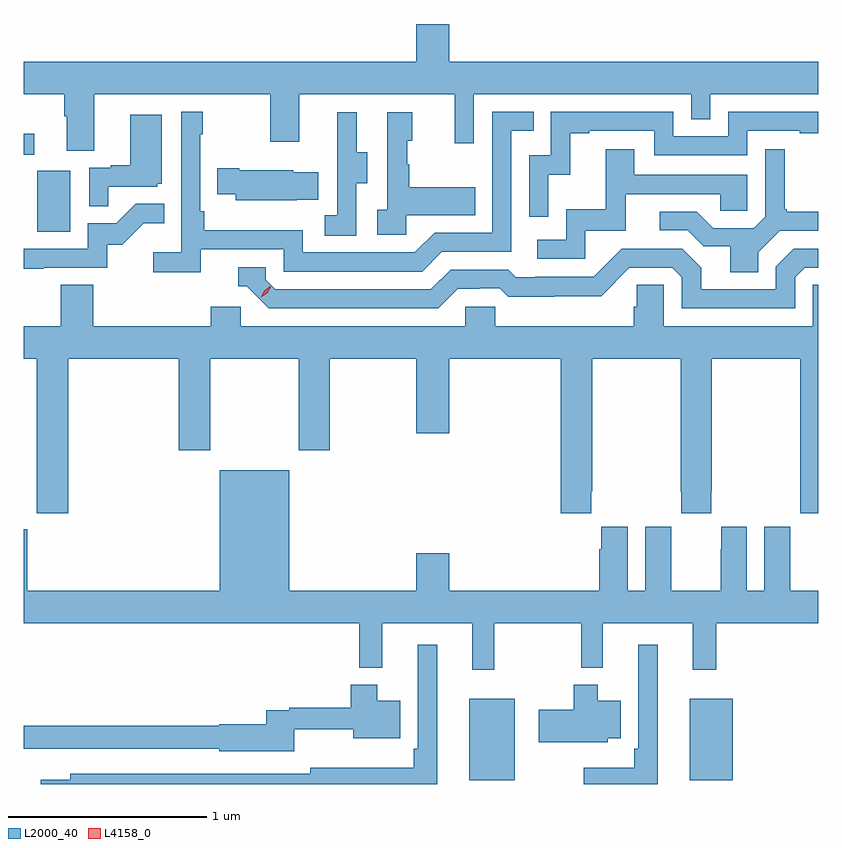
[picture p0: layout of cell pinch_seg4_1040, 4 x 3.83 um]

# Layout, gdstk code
import gdstk
lib = gdstk.Library(unit=1e-6, precision=1e-09)
def R(c, l, rs):  # rectangles x0, y0, x1, y1
    for r in rs: c.add(gdstk.rectangle(r[:2], r[2:], *l))
def P(c, l, *ps):  # polygons
    for p in ps: c.add(gdstk.Polygon(p, *l))
L2000_40 = (2000, 40)
L4158_0 = (4158, 0)

pinch_seg4_1040 = lib.new_cell('pinch_seg4_1040')
R(pinch_seg4_1040, L2000_40, [(848.591,749.411,848.818,749.821), (849.701,749.411,849.916,749.821), (846.416,752.172,846.58,752.479), (846.347,752.559,846.4,752.665)])
P(pinch_seg4_1040, L2000_40, [(846.703,752.864),(847.588,752.864),(847.588,752.625),(847.735,752.625),(847.735,752.864),(848.516,752.864),(848.516,752.616),(848.613,752.616),(848.613,752.864),(849.708,752.864),(849.708,752.737),(849.804,752.737),(849.804,752.864),(850.347,752.864),(850.347,753.028),(848.488,753.028),(848.488,753.217),(848.324,753.217),(848.324,753.028),(846.347,753.028),(846.347,752.864),(846.551,752.864),(846.551,752.752),(846.563,752.752),(846.563,752.578),(846.703,752.578)],
  [(847.238,752.082),(847.656,752.082),(847.656,751.971),(848.353,751.971),(848.452,752.07),(848.802,752.07),(848.802,752.679),(848.915,752.679),(848.915,752.775),(848.706,752.775),(848.706,752.166),(848.415,752.166),(848.316,752.067),(847.752,752.067),(847.752,752.179),(847.256,752.179),(847.256,752.275),(847.236,752.275),(847.236,752.663),(847.249,752.663),(847.249,752.776),(847.14,752.776),(847.14,752.068),(846.999,752.068),(846.999,751.966),(847.238,751.966)],
  [(848.988,752.459),(849.098,752.459),(849.098,752.667),(849.193,752.667),(849.193,752.679),(849.522,752.679),(849.522,752.556),(849.99,752.556),(849.99,752.679),(850.253,752.679),(850.253,752.667),(850.347,752.667),(850.347,752.775),(849.894,752.775),(849.894,752.652),(849.618,752.652),(849.618,752.775),(849,752.775),(849,752.556),(848.892,752.556),(848.892,752.247),(848.988,752.247)],
  [(848.274,752.255),(848.621,752.255),(848.621,752.395),(848.287,752.395),(848.287,752.51),(848.277,752.51),(848.277,752.628),(848.302,752.628),(848.302,752.773),(848.178,752.773),(848.178,752.282),(848.127,752.282),(848.127,752.157),(848.274,752.157)],
  [(848.022,752.416),(848.077,752.416),(848.077,752.571),(848.023,752.571),(848.023,752.773),(847.925,752.773),(847.925,752.559),(847.926,752.559),(847.926,752.255),(847.863,752.255),(847.863,752.152),(848.022,752.152)],
  [(846.773,752.397),(847.02,752.397),(847.02,752.412),(847.042,752.412),(847.042,752.761),(846.884,752.761),(846.884,752.506),(846.785,752.506),(846.785,752.493),(846.678,752.493),(846.678,752.299),(846.773,752.299)],
  [(849.174,752.175),(849.379,752.175),(849.379,752.361),(849.853,752.361),(849.853,752.277),(849.99,752.277),(849.99,752.457),(849.421,752.457),(849.421,752.587),(849.277,752.587),(849.277,752.284),(849.078,752.284),(849.078,752.13),(848.931,752.13),(848.931,752.034),(849.174,752.034)],
  [(850.045,752.068),(850.152,752.175),(850.347,752.175),(850.347,752.272),(850.189,752.272),(850.189,752.284),(850.177,752.284),(850.177,752.587),(850.08,752.587),(850.08,752.247),(850.023,752.19),(849.817,752.19),(849.736,752.271),(849.549,752.271),(849.549,752.178),(849.69,752.178),(849.77,752.098),(849.905,752.098),(849.905,751.966),(850.045,751.966)],
  [(847.721,752.333),(847.829,752.333),(847.829,752.47),(847.704,752.47),(847.704,752.482),(847.432,752.482),(847.432,752.49),(847.321,752.49),(847.321,752.36),(847.415,752.36),(847.415,752.33),(847.721,752.33)],
  [(846.449,751.989),(846.768,751.989),(846.768,752.106),(846.844,752.106),(846.951,752.213),(847.055,752.213),(847.055,752.312),(846.911,752.312),(846.813,752.214),(846.669,752.214),(846.669,752.085),(846.347,752.085),(846.347,751.984),(846.449,751.984)],
  [(848.533,751.884),(848.64,751.884),(848.64,751.887),(848.743,751.887),(848.785,751.845),(849.018,751.845),(849.018,751.847),(849.254,751.847),(849.396,751.989),(849.612,751.989),(849.66,751.941),(849.66,751.785),(850.23,751.785),(850.23,751.941),(850.278,751.989),(850.347,751.989),(850.347,752.085),(850.224,752.085),(850.134,751.995),(850.134,751.881),(849.757,751.881),(849.757,751.991),(849.663,752.085),(849.357,752.085),(849.216,751.944),(848.923,751.944),(848.923,751.941),(848.824,751.941),(848.785,751.98),(848.496,751.98),(848.397,751.881),(847.614,751.881),(847.566,751.929),(847.566,751.992),(847.427,751.992),(847.427,751.896),(847.47,751.896),(847.581,751.785),(848.434,751.785)],
  [(849.05,750.753),(849.203,750.753),(849.203,750.865),(849.21,750.865),(849.21,751.532),(849.655,751.532),(849.655,750.865),(849.657,750.865),(849.657,750.753),(849.807,750.753),(849.807,750.865),(849.81,750.865),(849.81,751.532),(850.255,751.532),(850.255,750.865),(850.257,750.865),(850.257,750.753),(850.347,750.753),(850.347,751.904),(850.32,751.904),(850.32,751.696),(849.57,751.696),(849.57,751.904),(849.433,751.904),(849.433,751.794),(849.419,751.794),(849.419,751.696),(848.721,751.696),(848.721,751.794),(848.571,751.794),(848.571,751.696),(847.44,751.696),(847.44,751.794),(847.289,751.794),(847.289,751.696),(846.698,751.696),(846.698,751.904),(846.533,751.904),(846.533,751.696),(846.347,751.696),(846.347,751.532),(846.412,751.532),(846.412,750.753),(846.572,750.753),(846.572,751.532),(847.127,751.532),(847.127,751.071),(847.287,751.071),(847.287,751.532),(847.732,751.532),(847.732,751.071),(847.887,751.071),(847.887,751.532),(848.324,751.532),(848.324,751.158),(848.488,751.158),(848.488,751.532),(849.05,751.532)],
  [(848.716,750.2),(849.153,750.2),(849.153,749.975),(849.263,749.975),(849.263,750.2),(849.716,750.2),(849.716,749.967),(849.833,749.967),(849.833,750.2),(850.347,750.2),(850.347,750.364),(850.207,750.364),(850.207,750.572),(850.206,750.572),(850.206,750.685),(850.076,750.685),(850.076,750.364),(849.988,750.364),(849.988,750.685),(849.858,750.685),(849.858,750.572),(849.857,750.572),(849.857,750.364),(849.607,750.364),(849.607,750.572),(849.606,750.572),(849.606,750.685),(849.476,750.685),(849.476,750.364),(849.388,750.364),(849.388,750.685),(849.254,750.685),(849.254,750.572),(849.245,750.572),(849.245,750.364),(848.488,750.364),(848.488,750.553),(848.324,750.553),(848.324,750.364),(847.684,750.364),(847.684,750.97),(847.334,750.97),(847.334,750.364),(846.364,750.364),(846.364,750.673),(846.347,750.673),(846.347,750.2),(848.035,750.2),(848.035,749.975),(848.153,749.975),(848.153,750.2),(848.606,750.2),(848.606,749.967),(848.716,749.967)],
  [(848.428,750.091),(848.331,750.091),(848.331,749.569),(848.311,749.569),(848.311,749.473),(847.79,749.473),(847.79,749.442),(846.581,749.442),(846.581,749.413),(846.432,749.413),(846.432,749.391),(848.428,749.391)],
  [(849.538,750.091),(849.441,750.091),(849.441,749.569),(849.421,749.569),(849.421,749.473),(849.167,749.473),(849.167,749.391),(849.538,749.391)],
  [(847.708,749.666),(848.006,749.666),(848.006,749.621),(848.242,749.621),(848.242,749.809),(848.128,749.809),(848.128,749.89),(847.994,749.89),(847.994,749.776),(847.684,749.776),(847.684,749.763),(847.568,749.763),(847.568,749.692),(847.332,749.692),(847.332,749.684),(846.347,749.684),(846.347,749.568),(847.332,749.568),(847.332,749.555),(847.708,749.555)],
  [(849.288,749.621),(849.352,749.621),(849.352,749.809),(849.238,749.809),(849.238,749.89),(849.116,749.89),(849.116,749.766),(848.94,749.766),(848.94,749.6),(849.288,749.6)])
P(pinch_seg4_1040, L4158_0, [(847.544,751.842),(847.544,751.842),(847.559,751.875),(847.589,751.896),(847.59,751.896),(847.59,751.895),(847.574,751.862),(847.544,751.842)])

lib.write_gds('pinch_seg4_1040.gds')
